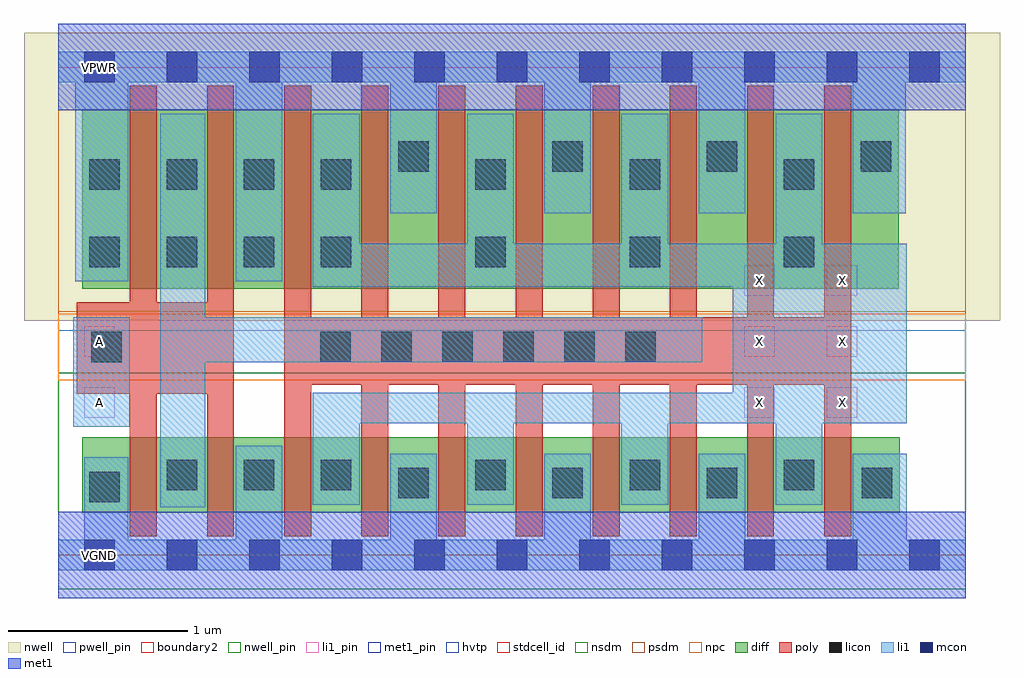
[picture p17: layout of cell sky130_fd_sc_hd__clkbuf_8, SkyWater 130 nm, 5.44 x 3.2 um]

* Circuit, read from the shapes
.subckt sky130_fd_sc_hd__clkbuf_8 A VGND VNB VPB VPWR X
XM1 n1 A VGND VNB sky130_fd_pr__nfet_01v8 w=0.42 l=0.15 m=2
XM2 X n1 VGND VNB sky130_fd_pr__nfet_01v8 w=0.42 l=0.15 m=8
XM3 n1 A VPWR VPB sky130_fd_pr__pfet_01v8_hvt w=1 l=0.15 m=2
XM4 X n1 VPWR VPB sky130_fd_pr__pfet_01v8_hvt w=1 l=0.15 m=8
.ends

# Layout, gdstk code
import gdstk
lib = gdstk.Library(unit=1e-6, precision=1e-09)
def R(c, l, rs):  # rectangles x0, y0, x1, y1
    for r in rs: c.add(gdstk.rectangle(r[:2], r[2:], *l))
def A(c, l, x, y, w, h, nx, ny, dx, dy):  # array of equal rectangles
    R(c, l, [(x+i*dx, y+j*dy, x+i*dx+w, y+j*dy+h) for i in range(nx) for j in range(ny)])
def P(c, l, *ps):  # polygons
    for p in ps: c.add(gdstk.Polygon(p, *l))
nwell_pin = (64, 16)
nwell = (64, 20)
diff = (65, 20)
poly = (66, 20)
licon = (66, 44)
li1_pin = (67, 16)
li1 = (67, 20)
mcon = (67, 44)
met1_pin = (68, 16)
met1 = (68, 20)
hvtp = (78, 44)
stdcell_id = (81, 4)
nsdm = (93, 44)
psdm = (94, 20)
npc = (95, 20)
pwell_pin = (122, 16)
boundary2 = (236, 0)

sky130_fd_sc_hd__clkbuf_ = lib.new_cell('sky130_fd_sc_hd__clkbuf_8')
R(sky130_fd_sc_hd__clkbuf_, nwell_pin, [(0.145,2.635,0.315,2.805)])
R(sky130_fd_sc_hd__clkbuf_, nwell, [(-0.19,1.305,5.25,2.91)])
R(sky130_fd_sc_hd__clkbuf_, diff, [(0.135,0.235,4.69,0.655), (0.135,1.485,4.685,2.485)])
P(sky130_fd_sc_hd__clkbuf_, poly, [(0.4,0.105),(0.4,0.9),(0.105,0.9),(0.105,1.41),(0.4,1.41),(0.4,2.615),(0.55,2.615),(0.55,1.41),(0.83,1.41),(0.83,2.615),(0.98,2.615),(0.98,0.105),(0.83,0.105),(0.83,0.9),(0.55,0.9),(0.55,0.105)],
  [(1.26,0.105),(1.26,2.615),(1.41,2.615),(1.41,1.325),(1.69,1.325),(1.69,2.615),(1.84,2.615),(1.84,1.325),(2.12,1.325),(2.12,2.615),(2.27,2.615),(2.27,1.325),(2.55,1.325),(2.55,2.615),(2.7,2.615),(2.7,1.325),(2.98,1.325),(2.98,2.615),(3.13,2.615),(3.13,1.325),(3.41,1.325),(3.41,2.615),(3.56,2.615),(3.56,1.325),(3.84,1.325),(3.84,2.615),(3.99,2.615),(3.99,1.325),(4.27,1.325),(4.27,2.615),(4.42,2.615),(4.42,0.105),(4.27,0.105),(4.27,0.95),(3.99,0.95),(3.99,0.105),(3.84,0.105),(3.84,0.95),(3.56,0.95),(3.56,0.105),(3.41,0.105),(3.41,0.95),(3.13,0.95),(3.13,0.105),(2.98,0.105),(2.98,0.95),(2.7,0.95),(2.7,0.105),(2.55,0.105),(2.55,0.95),(2.27,0.95),(2.27,0.105),(2.12,0.105),(2.12,0.95),(1.84,0.95),(1.84,0.105),(1.69,0.105),(1.69,0.95),(1.41,0.95),(1.41,0.105)])
A(sky130_fd_sc_hd__clkbuf_, licon, 1.895, 0.315, 0.17, 0.17, 3, 1, 0.86, 0)
A(sky130_fd_sc_hd__clkbuf_, licon, 0.605, 0.36, 0.17, 0.17, 3, 1, 0.43, 0)
A(sky130_fd_sc_hd__clkbuf_, licon, 2.325, 0.36, 0.17, 0.17, 3, 2, 0.86, 1.245)
A(sky130_fd_sc_hd__clkbuf_, licon, 1.46, 1.075, 0.17, 0.17, 6, 1, 0.34, 0)
A(sky130_fd_sc_hd__clkbuf_, licon, 0.175, 1.605, 0.17, 0.17, 4, 2, 0.43, 0.43)
A(sky130_fd_sc_hd__clkbuf_, licon, 2.325, 2.035, 0.17, 0.17, 3, 1, 0.86, 0)
A(sky130_fd_sc_hd__clkbuf_, licon, 1.895, 2.135, 0.17, 0.17, 4, 1, 0.86, 0)
R(sky130_fd_sc_hd__clkbuf_, licon, [(0.175,0.295,0.345,0.465), (4.48,0.315,4.65,0.485), (0.185,1.075,0.355,1.245)])
A(sky130_fd_sc_hd__clkbuf_, li1_pin, 3.825, 0.765, 0.17, 0.17, 1, 3, 0, 0.34)
A(sky130_fd_sc_hd__clkbuf_, li1_pin, 4.285, 0.765, 0.17, 0.17, 1, 3, 0, 0.34)
R(sky130_fd_sc_hd__clkbuf_, li1_pin, [(0.145,0.765,0.315,0.935), (0.145,1.105,0.315,1.275)])
R(sky130_fd_sc_hd__clkbuf_, li1, [(0.085,0.715,0.4,1.325)])
P(sky130_fd_sc_hd__clkbuf_, li1, [(0.095,1.525),(0.095,2.635),(0,2.635),(0,2.805),(5.06,2.805),(5.06,2.635),(4.725,2.635),(4.725,1.905),(4.43,1.905),(4.43,2.635),(3.83,2.635),(3.83,1.905),(3.57,1.905),(3.57,2.635),(2.97,2.635),(2.97,1.905),(2.71,1.905),(2.71,2.635),(2.11,2.635),(2.11,1.905),(1.85,1.905),(1.85,2.635),(1.25,2.635),(1.25,1.525),(0.99,1.525),(0.99,2.635),(0.39,2.635),(0.39,1.525)],
  [(0,-0.085),(0,0.085),(0.145,0.085),(0.145,0.545),(0.39,0.545),(0.39,0.085),(0.99,0.085),(0.99,0.61),(1.25,0.61),(1.25,0.085),(1.85,0.085),(1.85,0.565),(2.11,0.565),(2.11,0.085),(2.71,0.085),(2.71,0.565),(2.97,0.565),(2.97,0.085),(3.57,0.085),(3.57,0.565),(3.83,0.565),(3.83,0.085),(4.43,0.085),(4.43,0.565),(4.73,0.565),(4.73,0.085),(5.06,0.085),(5.06,-0.085)],
  [(0.57,0.265),(0.57,2.46),(0.82,2.46),(0.82,1.325),(3.59,1.325),(3.59,1.075),(0.82,1.075),(0.82,0.265)],
  [(1.42,0.28),(1.42,0.905),(3.76,0.905),(3.76,1.495),(1.42,1.495),(1.42,2.46),(1.68,2.46),(1.68,1.735),(2.28,1.735),(2.28,2.46),(2.54,2.46),(2.54,1.735),(3.14,1.735),(3.14,2.46),(3.4,2.46),(3.4,1.735),(4,1.735),(4,2.46),(4.26,2.46),(4.26,1.735),(4.73,1.735),(4.73,0.735),(4.26,0.735),(4.26,0.28),(4,0.28),(4,0.735),(3.4,0.735),(3.4,0.28),(3.14,0.28),(3.14,0.735),(2.54,0.735),(2.54,0.28),(2.28,0.28),(2.28,0.735),(1.68,0.735),(1.68,0.28)])
A(sky130_fd_sc_hd__clkbuf_, mcon, 0.145, -0.085, 0.17, 0.17, 11, 2, 0.46, 2.72)
R(sky130_fd_sc_hd__clkbuf_, met1_pin, [(0.145,-0.085,0.315,0.085), (0.145,2.635,0.315,2.805)])
R(sky130_fd_sc_hd__clkbuf_, hvtp, [(0,1.25,5.06,2.72)])
R(sky130_fd_sc_hd__clkbuf_, stdcell_id, [(0,0,5.06,2.72)])
R(sky130_fd_sc_hd__clkbuf_, nsdm, [(0,-0.19,5.06,1.015)])
R(sky130_fd_sc_hd__clkbuf_, psdm, [(0,1.355,5.06,2.91)])
R(sky130_fd_sc_hd__clkbuf_, npc, [(0,0.975,5.06,1.345)])
R(sky130_fd_sc_hd__clkbuf_, pwell_pin, [(0.145,-0.085,0.315,0.085)])
R(sky130_fd_sc_hd__clkbuf_, boundary2, [(0,0,5.06,2.72)])
sky130_fd_sc_hd__clkbuf_.add(gdstk.FlexPath([(0,0),(5.06,0)], 0.17, ends="flush", simple_path=True, layer=67, datatype=20))  # li1
sky130_fd_sc_hd__clkbuf_.add(gdstk.FlexPath([(0,2.72),(5.06,2.72)], 0.17, ends="flush", simple_path=True, layer=67, datatype=20))  # li1
sky130_fd_sc_hd__clkbuf_.add(gdstk.FlexPath([(0,2.72),(5.06,2.72)], 0.48, ends="flush", simple_path=True, layer=68, datatype=20))  # met1
sky130_fd_sc_hd__clkbuf_.add(gdstk.FlexPath([(0,0),(5.06,0)], 0.48, ends="flush", simple_path=True, layer=68, datatype=20))  # met1
sky130_fd_sc_hd__clkbuf_.add(gdstk.Label('X', (3.91,1.53), layer=67, texttype=5))
sky130_fd_sc_hd__clkbuf_.add(gdstk.Label('X', (3.91,0.85), layer=67, texttype=5))
sky130_fd_sc_hd__clkbuf_.add(gdstk.Label('A', (0.23,0.85), layer=67, texttype=5))
sky130_fd_sc_hd__clkbuf_.add(gdstk.Label('X', (4.37,0.85), layer=67, texttype=5))
sky130_fd_sc_hd__clkbuf_.add(gdstk.Label('X', (4.37,1.53), layer=67, texttype=5))
sky130_fd_sc_hd__clkbuf_.add(gdstk.Label('X', (3.91,1.19), layer=67, texttype=5))
sky130_fd_sc_hd__clkbuf_.add(gdstk.Label('A', (0.23,1.19), layer=67, texttype=5))
sky130_fd_sc_hd__clkbuf_.add(gdstk.Label('X', (4.37,1.19), layer=67, texttype=5))
sky130_fd_sc_hd__clkbuf_.add(gdstk.Label('VGND', (0.23,0), layer=68, texttype=5))
sky130_fd_sc_hd__clkbuf_.add(gdstk.Label('VPWR', (0.23,2.72), layer=68, texttype=5))
sky130_fd_sc_hd__clkbuf_.add(gdstk.Label('VPB', (0.23,2.72), layer=64, texttype=5))
sky130_fd_sc_hd__clkbuf_.add(gdstk.Label('VNB', (0.23,0), layer=64, texttype=59))
sky130_fd_sc_hd__clkbuf_.add(gdstk.Label('clkbuf_8', (0,0), layer=83, texttype=44))

lib.write_gds('sky130_fd_sc_hd__clkbuf_8.gds')
